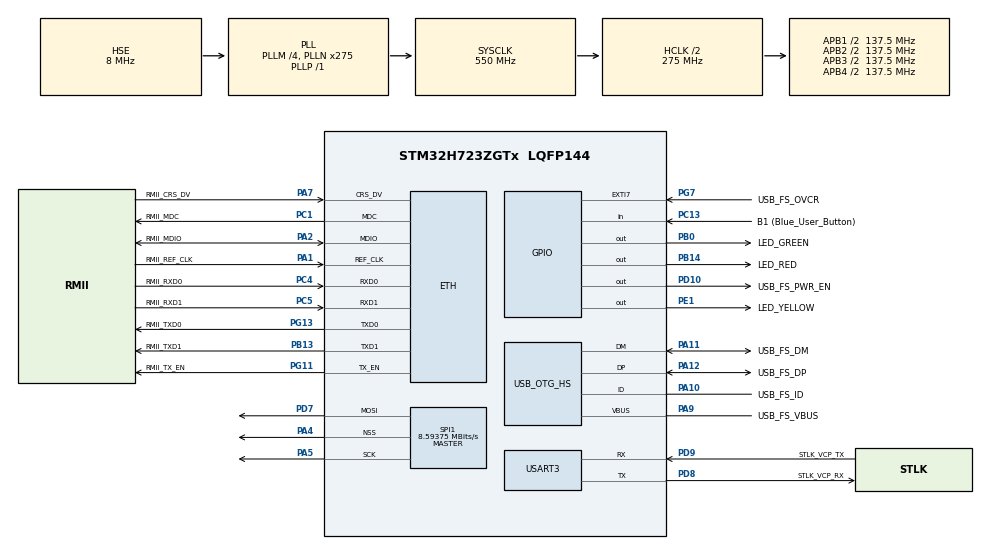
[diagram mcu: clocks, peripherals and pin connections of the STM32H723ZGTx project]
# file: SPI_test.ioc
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ETH.MediaInterface=HAL_ETH_RMII_MODE
Mcu.Family=STM32H7
Mcu.Name=STM32H723ZGTx
Mcu.Package=LQFP144
NVIC.PriorityGroup=NVIC_PRIORITYGROUP_4
PA1.GPIO_Label=RMII_REF_CLK
PA1.Mode=RMII
PA1.Signal=ETH_REF_CLK
PA10.GPIO_Label=USB_FS_ID
PA10.Mode=OTG/Dual-Role-Device-FS
PA10.Signal=USB_OTG_HS_ID
PA11.GPIO_Label=USB_FS_DM
PA11.Mode=OTG/Dual-Role-Device-FS
PA11.Signal=USB_OTG_HS_DM
PA12.GPIO_Label=USB_FS_DP
PA12.Mode=OTG/Dual-Role-Device-FS
PA12.Signal=USB_OTG_HS_DP
PA13(JTMS/SWDIO).GPIO_Label=SWDIO
PA13(JTMS/SWDIO).Mode=Trace_Asynchronous_SW
PA13(JTMS/SWDIO).Signal=DEBUG_JTMS-SWDIO
PA14(JTCK/SWCLK).GPIO_Label=SWCLK
PA14(JTCK/SWCLK).Mode=Trace_Asynchronous_SW
PA14(JTCK/SWCLK).Signal=DEBUG_JTCK-SWCLK
PA2.GPIO_Label=RMII_MDIO
PA2.Mode=RMII
PA2.Signal=ETH_MDIO
PA4.Mode=NSS_Signal_Hard_Output
PA4.Signal=SPI1_NSS
PA5.Mode=TX_Only_Simplex_Unidirect_Master
PA5.Signal=SPI1_SCK
PA7.GPIO_Label=RMII_CRS_DV
PA7.Mode=RMII
PA7.Signal=ETH_CRS_DV
PA9.GPIO_Label=USB_FS_VBUS
PA9.Mode=Activate_VBUS_FS
PA9.Signal=USB_OTG_HS_VBUS
PB0.GPIO_Label=LED_GREEN
PB0.Signal=GPIO_Output
PB13.GPIO_Label=RMII_TXD1
PB13.Mode=RMII
PB13.Signal=ETH_TXD1
PB14.GPIO_Label=LED_RED
PB14.Signal=GPIO_Output
PB3(JTDO/TRACESWO).GPIO_Label=SWO
PB3(JTDO/TRACESWO).Mode=Trace_Asynchronous_SW
PB3(JTDO/TRACESWO).Signal=DEBUG_JTDO-SWO
PC1.GPIO_Label=RMII_MDC
PC1.Mode=RMII
PC1.Signal=ETH_MDC
PC13.GPIO_Label=B1 (Blue_User_Button)
PC13.Signal=GPIO_Input
PC14-OSC32_IN.Mode=LSE-External-Oscillator
PC14-OSC32_IN.Signal=RCC_OSC32_IN
PC15-OSC32_OUT.Mode=LSE-External-Oscillator
PC15-OSC32_OUT.Signal=RCC_OSC32_OUT
PC4.GPIO_Label=RMII_RXD0
PC4.Mode=RMII
PC4.Signal=ETH_RXD0
PC5.GPIO_Label=RMII_RXD1
PC5.Mode=RMII
PC5.Signal=ETH_RXD1
PD10.GPIO_Label=USB_FS_PWR_EN
PD10.Signal=GPIO_Output
PD7.Mode=TX_Only_Simplex_Unidirect_Master
PD7.Signal=SPI1_MOSI
PD8.GPIO_Label=STLK_VCP_RX
PD8.Mode=Asynchronous
PD8.Signal=USART3_TX
PD9.GPIO_Label=STLK_VCP_TX
PD9.Mode=Asynchronous
PD9.Signal=USART3_RX
PE1.GPIO_Label=LED_YELLOW
PE1.Signal=GPIO_Output
PG11.GPIO_Label=RMII_TX_EN
PG11.Mode=RMII
PG11.Signal=ETH_TX_EN
PG13.GPIO_Label=RMII_TXD0
PG13.Mode=RMII
PG13.Signal=ETH_TXD0
PG7.GPIO_Label=USB_FS_OVCR
PG7.Signal=GPXTI7
PH0-OSC_IN.GPIO_Label=MCO
PH0-OSC_IN.Mode=HSE-External-Clock-Source
PH0-OSC_IN.Signal=RCC_OSC_IN
PH1-OSC_OUT.Signal=RCC_OSC_OUT
ProjectManager.HeapSize=0x200
ProjectManager.StackSize=0x400
ProjectManager.TargetToolchain=STM32CubeIDE
RCC.ADCFreq_Value=76000000
RCC.APB1Freq_Value=137500000
RCC.APB2Freq_Value=137500000
RCC.APB3Freq_Value=137500000
RCC.APB4Freq_Value=137500000
RCC.CortexFreq_Value=550000000
RCC.D1PPRE=RCC_APB3_DIV2
RCC.D2PPRE1=RCC_APB1_DIV2
RCC.D2PPRE2=RCC_APB2_DIV2
RCC.D3PPRE=RCC_APB4_DIV2
RCC.DIVM1=4
RCC.DIVM2=1
RCC.DIVN1=275
RCC.DIVN2=19
RCC.DIVP1=1
RCC.DIVQ1=4
RCC.HCLKFreq_Value=275000000
RCC.HPRE=RCC_HCLK_DIV2
RCC.HSE_VALUE=8000000
RCC.PLLFRACN=0
RCC.PLLSourceVirtual=RCC_PLLSOURCE_HSE
RCC.SYSCLKFreq_VALUE=550000000
RCC.SYSCLKSource=RCC_SYSCLKSOURCE_PLLCLK
RCC.USBCLockSelection=RCC_USBCLKSOURCE_HSI48
RCC.USBFreq_Value=48000000
SPI1.BaudRatePrescaler=SPI_BAUDRATEPRESCALER_16
SPI1.CLKPolarity=SPI_POLARITY_HIGH
SPI1.CalculateBaudRate=8.59375 MBits/s
SPI1.DataSize=SPI_DATASIZE_8BIT
SPI1.Direction=SPI_DIRECTION_2LINES_TXONLY
SPI1.Mode=SPI_MODE_MASTER
SPI1.VirtualNSS=VM_NSSHARD
SPI1.VirtualType=VM_MASTER
USART3.VirtualMode-Asynchronous=VM_ASYNC
board=NUCLEO-H723ZG

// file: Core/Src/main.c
/* USER CODE BEGIN Header */
/**
  ******************************************************************************
  * @file           : main.c
  * @brief          : Main program body
  ******************************************************************************
  * @attention
  *
  * Copyright (c) 2023 STMicroelectronics.
  * All rights reserved.
  *
  * This software is licensed under terms that can be found in the LICENSE file
  * in the root directory of this software component.
  * If no LICENSE file comes with this software, it is provided AS-IS.
  *
  ******************************************************************************
  */
/* USER CODE END Header */
#include "main.h"
#include "string.h"

/* USER CODE BEGIN Includes */
#include <stdio.h>
#include <string.h>
/* USER CODE END Includes */

/* USER CODE BEGIN PD */
#define MAX_SPI_BUFFER_SIZE 64
/* USER CODE END PD */

#if defined ( __ICCARM__ ) /*!< IAR Compiler */
#pragma location=0x30000000
ETH_DMADescTypeDef  DMARxDscrTab[ETH_RX_DESC_CNT]; /* Ethernet Rx DMA Descriptors */
#pragma location=0x30000200
ETH_DMADescTypeDef  DMATxDscrTab[ETH_TX_DESC_CNT]; /* Ethernet Tx DMA Descriptors */

#elif defined ( __CC_ARM )  /* MDK ARM Compiler */

__attribute__((at(0x30000000))) ETH_DMADescTypeDef  DMARxDscrTab[ETH_RX_DESC_CNT]; /* Ethernet Rx DMA Descriptors */
__attribute__((at(0x30000200))) ETH_DMADescTypeDef  DMATxDscrTab[ETH_TX_DESC_CNT]; /* Ethernet Tx DMA Descriptors */

#elif defined ( __GNUC__ ) /* GNU Compiler */
ETH_DMADescTypeDef DMARxDscrTab[ETH_RX_DESC_CNT] __attribute__((section(".RxDecripSection"))); /* Ethernet Rx DMA Descriptors */
ETH_DMADescTypeDef DMATxDscrTab[ETH_TX_DESC_CNT] __attribute__((section(".TxDecripSection")));   /* Ethernet Tx DMA Descriptors */

#endif

ETH_TxPacketConfig TxConfig;

ETH_HandleTypeDef heth;

SPI_HandleTypeDef hspi1;

UART_HandleTypeDef huart3;

void SystemClock_Config(void);
static void MX_GPIO_Init(void);
static void MX_ETH_Init(void);
static void MX_USART3_UART_Init(void);
static void MX_USB_OTG_HS_USB_Init(void);
static void MX_SPI1_Init(void);
/* USER CODE BEGIN PFP */
#ifdef __GNUC__
#define PUTCHAR_PROTOTYPE int __io_putchar(int ch)
#define GETCHAR_PROTOTYPE int __io_getchar(void)
#else
#define PUTCHAR_PROTOTYPE int fputc(int ch, FILE *f)
#define GETCHAR_PROTOTYPE int fgetc(FILE *f)
#endif

PUTCHAR_PROTOTYPE
{
  HAL_UART_Transmit(&huart3, (uint8_t *)&ch, 1, HAL_MAX_DELAY);
  return ch;
}

GETCHAR_PROTOTYPE
{
  uint8_t ch = 0;

  /* Clear the Overrun flag just before receiving the first character */
  __HAL_UART_CLEAR_OREFLAG(&huart3);

  /* Wait for reception of a character on the USART RX line and echo this
   * character on console */
  HAL_UART_Receive(&huart3, (uint8_t *)&ch, 1, HAL_MAX_DELAY);
  HAL_UART_Transmit(&huart3, (uint8_t *)&ch, 1, HAL_MAX_DELAY);
  return ch;
}
/* USER CODE END PFP */

int main(void)
{
  /* USER CODE BEGIN 1 */
	// Disable internal buffering for input stream of scanf()
	setvbuf(stdin, NULL, _IONBF, 0);

  /* USER CODE END 1 */

  /* MCU Configuration--------------------------------------------------------*/

  /* Reset of all peripherals, Initializes the Flash interface and the Systick. */
  HAL_Init();

  /* Configure the system clock */
  SystemClock_Config();

  /* Initialize all configured peripherals */
  MX_GPIO_Init();
  MX_ETH_Init();
  MX_USART3_UART_Init();
  MX_USB_OTG_HS_USB_Init();
  MX_SPI1_Init();
  /* USER CODE BEGIN 2 */
  // Print welcome message
  printf("\n\n----------\n\nSMT32 and Zynq-7020 Communication over SPI\r\n");
  /* USER CODE END 2 */

  /* Infinite loop */
  /* USER CODE BEGIN WHILE */
  while (1)
  {
	  char inputBuffer[MAX_SPI_BUFFER_SIZE] = "";
	  		uint8_t spiDataTx[MAX_SPI_BUFFER_SIZE]={0};

	  		 printf("Enter data to send over SPI: ");
	  		 // TO DO: Specify scanf or file input
	  		 scanf("%s",inputBuffer);
	  		 printf("You entered %s\r\n", inputBuffer);

	  	  	 // Convert the ASCII characters to uint8 for SPI
	  		size_t inputLen = 0;
	  	  	for (; inputBuffer[inputLen]!='\0'; inputLen++)
	  	  	{
	  	  		spiDataTx[inputLen] = (uint8_t)inputBuffer[inputLen];
	  	  	}
	  	  	printf("yes\r\n");
	  	  	 // Send data over SPI
	  	    HAL_StatusTypeDef halStatus;
	  	  	halStatus = HAL_SPI_Transmit(&hspi1, spiDataTx, inputLen, HAL_MAX_DELAY);

	  	  	if(halStatus == HAL_OK) printf("HAL OK, successfully send data.\r\n");
	  	  	else printf("HAL not OK, unsuccessfully send data.\r\n");

	  	  	 printf("Data that was send as unit8:");
			for (size_t i = 0; inputBuffer[i]!='\0';i++) {
				printf("%d, %d ",i, spiDataTx[i]);
			}
			printf("\r\n");

	  	  	 // TODO: Only send data if FPGA has ready signal asserted

	  	  	 // Clear the input buffer
	  	  	 for (size_t i = 0; i < sizeof(inputBuffer); i++)
	  	  	 {
	  	  		inputBuffer[i] = '\0';
	  	  	 }
    /* USER CODE END WHILE */

  }
}

void SystemClock_Config(void)
{
  RCC_OscInitTypeDef RCC_OscInitStruct = {0};
  RCC_ClkInitTypeDef RCC_ClkInitStruct = {0};

  /** Supply configuration update enable
  */
  HAL_PWREx_ConfigSupply(PWR_LDO_SUPPLY);

  /** Configure the main internal regulator output voltage
  */
  __HAL_PWR_VOLTAGESCALING_CONFIG(PWR_REGULATOR_VOLTAGE_SCALE0);

  while(!__HAL_PWR_GET_FLAG(PWR_FLAG_VOSRDY)) {}

  /** Initializes the RCC Oscillators according to the specified parameters
  * in the RCC_OscInitTypeDef structure.
  */
  RCC_OscInitStruct.OscillatorType = RCC_OSCILLATORTYPE_HSI48|RCC_OSCILLATORTYPE_HSE;
  RCC_OscInitStruct.HSEState = RCC_HSE_BYPASS;
  RCC_OscInitStruct.HSI48State = RCC_HSI48_ON;
  RCC_OscInitStruct.PLL.PLLState = RCC_PLL_ON;
  RCC_OscInitStruct.PLL.PLLSource = RCC_PLLSOURCE_HSE;
  RCC_OscInitStruct.PLL.PLLM = 4;
  RCC_OscInitStruct.PLL.PLLN = 275;
  RCC_OscInitStruct.PLL.PLLP = 1;
  RCC_OscInitStruct.PLL.PLLQ = 4;
  RCC_OscInitStruct.PLL.PLLR = 2;
  RCC_OscInitStruct.PLL.PLLRGE = RCC_PLL1VCIRANGE_1;
  RCC_OscInitStruct.PLL.PLLVCOSEL = RCC_PLL1VCOWIDE;
  RCC_OscInitStruct.PLL.PLLFRACN = 0;
  if (HAL_RCC_OscConfig(&RCC_OscInitStruct) != HAL_OK)
  {
    Error_Handler();
  }

  /** Initializes the CPU, AHB and APB buses clocks
  */
  RCC_ClkInitStruct.ClockType = RCC_CLOCKTYPE_HCLK|RCC_CLOCKTYPE_SYSCLK
                              |RCC_CLOCKTYPE_PCLK1|RCC_CLOCKTYPE_PCLK2
                              |RCC_CLOCKTYPE_D3PCLK1|RCC_CLOCKTYPE_D1PCLK1;
  RCC_ClkInitStruct.SYSCLKSource = RCC_SYSCLKSOURCE_PLLCLK;
  RCC_ClkInitStruct.SYSCLKDivider = RCC_SYSCLK_DIV1;
  RCC_ClkInitStruct.AHBCLKDivider = RCC_HCLK_DIV2;
  RCC_ClkInitStruct.APB3CLKDivider = RCC_APB3_DIV2;
  RCC_ClkInitStruct.APB1CLKDivider = RCC_APB1_DIV2;
  RCC_ClkInitStruct.APB2CLKDivider = RCC_APB2_DIV2;
  RCC_ClkInitStruct.APB4CLKDivider = RCC_APB4_DIV2;

  if (HAL_RCC_ClockConfig(&RCC_ClkInitStruct, FLASH_LATENCY_3) != HAL_OK)
  {
    Error_Handler();
  }
}

static void MX_ETH_Init(void)
{

   static uint8_t MACAddr[6];

  heth.Instance = ETH;
  MACAddr[0] = 0x00;
  MACAddr[1] = 0x80;
  MACAddr[2] = 0xE1;
  MACAddr[3] = 0x00;
  MACAddr[4] = 0x00;
  MACAddr[5] = 0x00;
  heth.Init.MACAddr = &MACAddr[0];
  heth.Init.MediaInterface = HAL_ETH_RMII_MODE;
  heth.Init.TxDesc = DMATxDscrTab;
  heth.Init.RxDesc = DMARxDscrTab;
  heth.Init.RxBuffLen = 1524;

  if (HAL_ETH_Init(&heth) != HAL_OK)
  {
    Error_Handler();
  }

  memset(&TxConfig, 0 , sizeof(ETH_TxPacketConfig));
  TxConfig.Attributes = ETH_TX_PACKETS_FEATURES_CSUM | ETH_TX_PACKETS_FEATURES_CRCPAD;
  TxConfig.ChecksumCtrl = ETH_CHECKSUM_IPHDR_PAYLOAD_INSERT_PHDR_CALC;
  TxConfig.CRCPadCtrl = ETH_CRC_PAD_INSERT;

}

static void MX_SPI1_Init(void)
{

  /* SPI1 parameter configuration*/
  hspi1.Instance = SPI1;
  hspi1.Init.Mode = SPI_MODE_MASTER;
  hspi1.Init.Direction = SPI_DIRECTION_2LINES_TXONLY;
  hspi1.Init.DataSize = SPI_DATASIZE_8BIT;
  hspi1.Init.CLKPolarity = SPI_POLARITY_HIGH;
  hspi1.Init.CLKPhase = SPI_PHASE_1EDGE;
  hspi1.Init.NSS = SPI_NSS_HARD_OUTPUT;
  hspi1.Init.BaudRatePrescaler = SPI_BAUDRATEPRESCALER_16;
  hspi1.Init.FirstBit = SPI_FIRSTBIT_MSB;
  hspi1.Init.TIMode = SPI_TIMODE_DISABLE;
  hspi1.Init.CRCCalculation = SPI_CRCCALCULATION_DISABLE;
  hspi1.Init.CRCPolynomial = 0x0;
  hspi1.Init.NSSPMode = SPI_NSS_PULSE_ENABLE;
  hspi1.Init.NSSPolarity = SPI_NSS_POLARITY_LOW;
  hspi1.Init.FifoThreshold = SPI_FIFO_THRESHOLD_01DATA;
  hspi1.Init.TxCRCInitializationPattern = SPI_CRC_INITIALIZATION_ALL_ZERO_PATTERN;
  hspi1.Init.RxCRCInitializationPattern = SPI_CRC_INITIALIZATION_ALL_ZERO_PATTERN;
  hspi1.Init.MasterSSIdleness = SPI_MASTER_SS_IDLENESS_00CYCLE;
  hspi1.Init.MasterInterDataIdleness = SPI_MASTER_INTERDATA_IDLENESS_00CYCLE;
  hspi1.Init.MasterReceiverAutoSusp = SPI_MASTER_RX_AUTOSUSP_DISABLE;
  hspi1.Init.MasterKeepIOState = SPI_MASTER_KEEP_IO_STATE_DISABLE;
  hspi1.Init.IOSwap = SPI_IO_SWAP_DISABLE;
  if (HAL_SPI_Init(&hspi1) != HAL_OK)
  {
    Error_Handler();
  }

}

static void MX_USART3_UART_Init(void)
{

  huart3.Instance = USART3;
  huart3.Init.BaudRate = 115200;
  huart3.Init.WordLength = UART_WORDLENGTH_8B;
  huart3.Init.StopBits = UART_STOPBITS_1;
  huart3.Init.Parity = UART_PARITY_NONE;
  huart3.Init.Mode = UART_MODE_TX_RX;
  huart3.Init.HwFlowCtl = UART_HWCONTROL_NONE;
  huart3.Init.OverSampling = UART_OVERSAMPLING_16;
  huart3.Init.OneBitSampling = UART_ONE_BIT_SAMPLE_DISABLE;
  huart3.Init.ClockPrescaler = UART_PRESCALER_DIV1;
  huart3.AdvancedInit.AdvFeatureInit = UART_ADVFEATURE_NO_INIT;
  if (HAL_UART_Init(&huart3) != HAL_OK)
  {
    Error_Handler();
  }
  if (HAL_UARTEx_SetTxFifoThreshold(&huart3, UART_TXFIFO_THRESHOLD_1_8) != HAL_OK)
  {
    Error_Handler();
  }
  if (HAL_UARTEx_SetRxFifoThreshold(&huart3, UART_RXFIFO_THRESHOLD_1_8) != HAL_OK)
  {
    Error_Handler();
  }
  if (HAL_UARTEx_DisableFifoMode(&huart3) != HAL_OK)
  {
    Error_Handler();
  }

}

static void MX_USB_OTG_HS_USB_Init(void)
{

}

static void MX_GPIO_Init(void)
{
  GPIO_InitTypeDef GPIO_InitStruct = {0};

  /* GPIO Ports Clock Enable */
  __HAL_RCC_GPIOC_CLK_ENABLE();
  __HAL_RCC_GPIOH_CLK_ENABLE();
  __HAL_RCC_GPIOA_CLK_ENABLE();
  __HAL_RCC_GPIOB_CLK_ENABLE();
  __HAL_RCC_GPIOD_CLK_ENABLE();
  __HAL_RCC_GPIOG_CLK_ENABLE();
  __HAL_RCC_GPIOE_CLK_ENABLE();

  /*Configure GPIO pin Output Level */
  HAL_GPIO_WritePin(GPIOB, LED_GREEN_Pin|LED_RED_Pin, GPIO_PIN_RESET);

  /*Configure GPIO pin Output Level */
  HAL_GPIO_WritePin(USB_FS_PWR_EN_GPIO_Port, USB_FS_PWR_EN_Pin, GPIO_PIN_RESET);

  /*Configure GPIO pin Output Level */
  HAL_GPIO_WritePin(LED_YELLOW_GPIO_Port, LED_YELLOW_Pin, GPIO_PIN_RESET);

  /*Configure GPIO pin : B1_Pin */
  GPIO_InitStruct.Pin = B1_Pin;
  GPIO_InitStruct.Mode = GPIO_MODE_INPUT;
  GPIO_InitStruct.Pull = GPIO_NOPULL;
  HAL_GPIO_Init(B1_GPIO_Port, &GPIO_InitStruct);

  /*Configure GPIO pins : LED_GREEN_Pin LED_RED_Pin */
  GPIO_InitStruct.Pin = LED_GREEN_Pin|LED_RED_Pin;
  GPIO_InitStruct.Mode = GPIO_MODE_OUTPUT_PP;
  GPIO_InitStruct.Pull = GPIO_NOPULL;
  GPIO_InitStruct.Speed = GPIO_SPEED_FREQ_LOW;
  HAL_GPIO_Init(GPIOB, &GPIO_InitStruct);

  /*Configure GPIO pin : USB_FS_PWR_EN_Pin */
  GPIO_InitStruct.Pin = USB_FS_PWR_EN_Pin;
  GPIO_InitStruct.Mode = GPIO_MODE_OUTPUT_PP;
  GPIO_InitStruct.Pull = GPIO_NOPULL;
  GPIO_InitStruct.Speed = GPIO_SPEED_FREQ_LOW;
  HAL_GPIO_Init(USB_FS_PWR_EN_GPIO_Port, &GPIO_InitStruct);

  /*Configure GPIO pin : USB_FS_OVCR_Pin */
  GPIO_InitStruct.Pin = USB_FS_OVCR_Pin;
  GPIO_InitStruct.Mode = GPIO_MODE_IT_RISING;
  GPIO_InitStruct.Pull = GPIO_NOPULL;
  HAL_GPIO_Init(USB_FS_OVCR_GPIO_Port, &GPIO_InitStruct);

  /*Configure GPIO pin : USB_FS_VBUS_Pin */
  GPIO_InitStruct.Pin = USB_FS_VBUS_Pin;
  GPIO_InitStruct.Mode = GPIO_MODE_INPUT;
  GPIO_InitStruct.Pull = GPIO_NOPULL;
  HAL_GPIO_Init(USB_FS_VBUS_GPIO_Port, &GPIO_InitStruct);

  /*Configure GPIO pin : USB_FS_ID_Pin */
  GPIO_InitStruct.Pin = USB_FS_ID_Pin;
  GPIO_InitStruct.Mode = GPIO_MODE_AF_PP;
  GPIO_InitStruct.Pull = GPIO_NOPULL;
  GPIO_InitStruct.Speed = GPIO_SPEED_FREQ_LOW;
  GPIO_InitStruct.Alternate = GPIO_AF10_OTG1_HS;
  HAL_GPIO_Init(USB_FS_ID_GPIO_Port, &GPIO_InitStruct);

  /*Configure GPIO pin : LED_YELLOW_Pin */
  GPIO_InitStruct.Pin = LED_YELLOW_Pin;
  GPIO_InitStruct.Mode = GPIO_MODE_OUTPUT_PP;
  GPIO_InitStruct.Pull = GPIO_NOPULL;
  GPIO_InitStruct.Speed = GPIO_SPEED_FREQ_LOW;
  HAL_GPIO_Init(LED_YELLOW_GPIO_Port, &GPIO_InitStruct);

}

void Error_Handler(void)
{
  __disable_irq();
  while (1)
  {
  }
}
